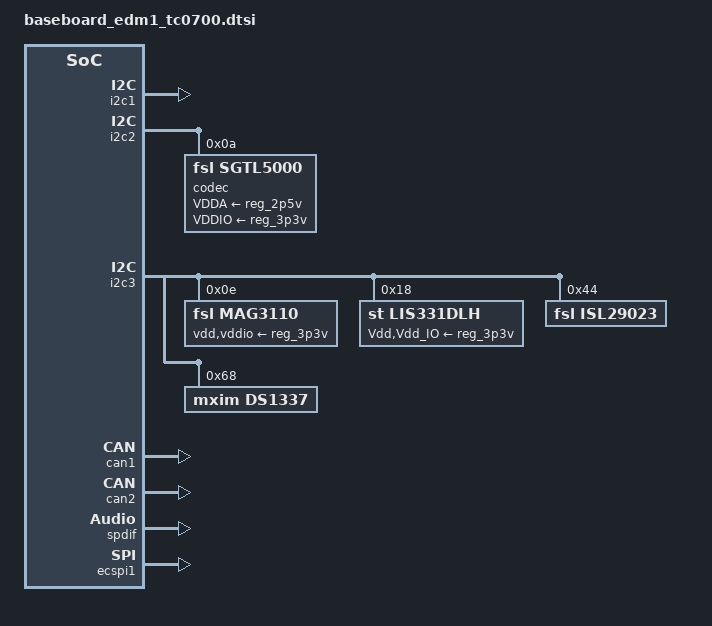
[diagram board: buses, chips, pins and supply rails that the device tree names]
/*
 * Copyright 2016 Technexion Ltd.
 *
 * Author: Wig Cheng <wig.cheng@technexion.com>
 *	   Richard Hu <richard.hu@technexion.com>
 *	   Tapani Utriainen <tapani@technexion.com>
 *
 * This program is free software; you can redistribute it and/or modify
 * it under the terms of the GNU General Public License version 2 as
 * published by the Free Software Foundation.
 *
 */

#include <tnmacro.h>

/ {
	gpio-edm {
		compatible = "gpio-edm";
/* custom GPIO may be from GPIO expander on CPU module */
#ifdef EDM1_EXT_GPIO_IOMUX_TC0700
		pinctrl-names = "default";
		pinctrl-0 = <EDM1_EXT_GPIO_IOMUX_TC0700>;
#endif
		gpio_p259 {
			label = "GPIO_P259";
			gpios = <&EDM1_EXT_GPIO_P259 1>;
			dir   = "in";
		};
		gpio_p260 {
			label = "GPIO_P260";
			gpios = <&EDM1_EXT_GPIO_P260 1>;
			dir   = "in";
		};
		gpio_p261 {
			label = "GPIO_P261";
			gpios = <&EDM1_EXT_GPIO_P261 1>;
			dir   = "out";
		};
		gpio_p262 {
			label = "GPIO_P262";
			gpios = <&EDM1_EXT_GPIO_P262 1>;
			dir   = "out";
		};
	};

	sound {
		compatible = "fsl,imx-sgtl5000",
			     "fsl,imx-audio-sgtl5000";
		model = "audio-sgtl5000";
		ssi-controller = <&EDM1_AUD_I2S_CHANNEL>;
		audio-codec = <&codec>;
		audio-routing =
			"MIC_IN", "Mic Jack",
			"Mic Jack", "Mic Bias",
			"Line Out Jack", "HP_OUT";
		mux-int-port = <EDM1_AUD_MUX_INT>;
		mux-ext-port = <EDM1_AUD_MUX_EXT>;
	};
};

&i2c1 {
	status = "okay";
};

&i2c2 {
	status = "okay";

	codec: sgtl5000@0a {
		compatible = "fsl,sgtl5000";
		reg = <0x0a>;
		clocks = <&EDM1_AUD_CLK_SRC>;
		VDDA-supply = <&reg_2p5v>;
		VDDIO-supply = <&reg_3p3v>;
	};
};

&i2c3 {
	status = "okay";

	mag3110@0e {
		compatible = "fsl,mag3110";
		reg = <0x0e>;
		position = <2>;
		vdd-supply = <&reg_3p3v>;
		vddio-supply = <&reg_3p3v>;
	};

	lis331dlh: lis331dlh@18 {
		compatible = "st,lis331dlh", "st,lis3lv02d";
		reg = <0x18>;
		Vdd-supply = <&reg_3p3v>;
		Vdd_IO-supply = <&reg_3p3v>;

		st,click-single-x;
		st,click-single-y;
		st,click-single-z;
		st,click-thresh-x = <10>;
		st,click-thresh-y = <10>;
		st,click-thresh-z = <10>;
		st,irq1-click;
		st,irq2-click;
		st,wakeup-x-lo;
		st,wakeup-x-hi;
		st,wakeup-y-lo;
		st,wakeup-y-hi;
		st,wakeup-z-lo;
		st,wakeup-z-hi;
		st,min-limit-x = <120>;
		st,min-limit-y = <120>;
		st,min-limit-z = <140>;
		st,max-limit-x = <550>;
		st,max-limit-y = <550>;
		st,max-limit-z = <750>;
	};

	isl29023@44 {
		compatible = "fsl,isl29023";
		reg = <0x44>;
		rext = <499>;
	};

	ds1337: rtc@68 {
		compatible = "mxim,ds1337";
		reg = <0x68>;
	};
};

&can1 {
	status = "okay";
};

&can2 {
	status = "okay";
};

&spdif {
	status = "okay";
};

&ecspi1 {
	status = "okay";

};
